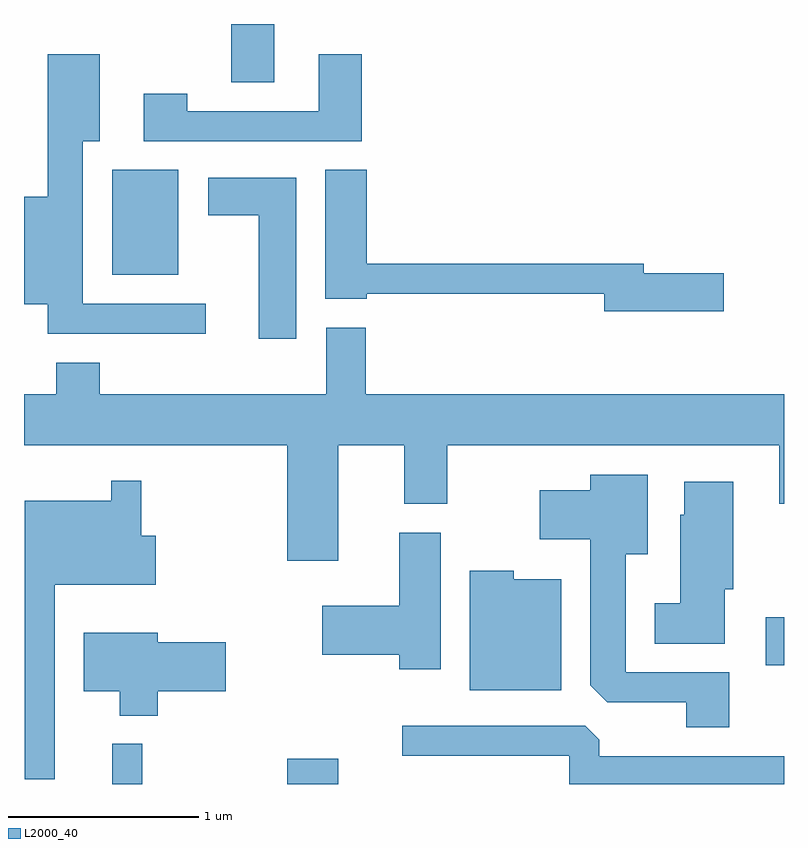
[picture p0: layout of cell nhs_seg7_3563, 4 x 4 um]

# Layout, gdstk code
import gdstk
lib = gdstk.Library(unit=1e-6, precision=1e-09)
def R(c, l, rs):  # rectangles x0, y0, x1, y1
    for r in rs: c.add(gdstk.rectangle(r[:2], r[2:], *l))
def P(c, l, *ps):  # polygons
    for p in ps: c.add(gdstk.Polygon(p, *l))
L2000_40 = (2000, 40)

nhs_seg7_3563 = lib.new_cell('nhs_seg7_3563')
R(nhs_seg7_3563, L2000_40, [(294.076,1770.252,294.234,1770.463), (294.996,1770.252,295.264,1770.384), (297.516,1770.876,297.611,1771.129), (294.076,1772.931,294.424,1773.484), (294.701,1773.946,294.929,1774.252)])
P(nhs_seg7_3563, L2000_40, [(294.568,1772.779),(293.919,1772.779),(293.919,1773.636),(294.009,1773.636),(294.009,1774.094),(293.736,1774.094),(293.736,1773.344),(293.611,1773.344),(293.611,1772.776),(293.736,1772.776),(293.736,1772.621),(294.568,1772.621)],
  [(295.389,1774.094),(295.161,1774.094),(295.161,1773.794),(294.469,1773.794),(294.469,1773.884),(294.241,1773.884),(294.241,1773.636),(295.389,1773.636)],
  [(297.294,1772.939),(296.874,1772.939),(296.874,1772.989),(295.414,1772.989),(295.414,1773.484),(295.196,1773.484),(295.196,1772.806),(295.414,1772.806),(295.414,1772.831),(296.666,1772.831),(296.666,1772.741),(297.294,1772.741)],
  [(295.044,1773.444),(294.581,1773.444),(294.581,1773.246),(294.846,1773.246),(294.846,1772.596),(295.044,1772.596)],
  [(295.264,1772.036),(295.611,1772.036),(295.611,1771.726),(295.839,1771.726),(295.839,1772.036),(297.586,1772.036),(297.586,1771.726),(297.611,1771.726),(297.611,1772.304),(295.409,1772.304),(295.409,1772.654),(295.201,1772.654),(295.201,1772.304),(294.009,1772.304),(294.009,1772.469),(293.781,1772.469),(293.781,1772.304),(293.611,1772.304),(293.611,1772.036),(294.996,1772.036),(294.996,1771.426),(295.264,1771.426)],
  [(297.324,1770.839),(296.779,1770.839),(296.779,1771.461),(296.894,1771.461),(296.894,1771.879),(296.591,1771.879),(296.591,1771.799),(296.326,1771.799),(296.326,1771.541),(296.591,1771.541),(296.591,1770.772),(296.682,1770.681),(297.096,1770.681),(297.096,1770.551),(297.324,1770.551)],
  [(293.774,1771.301),(294.304,1771.301),(294.304,1771.559),(294.229,1771.559),(294.229,1771.848),(294.071,1771.848),(294.071,1771.744),(293.616,1771.744),(293.616,1770.278),(293.774,1770.278)],
  [(297.299,1771.276),(297.344,1771.276),(297.344,1771.844),(297.086,1771.844),(297.086,1771.669),(297.066,1771.669),(297.066,1771.204),(296.931,1771.204),(296.931,1770.991),(297.299,1770.991)],
  [(295.804,1771.574),(295.586,1771.574),(295.586,1771.189),(295.181,1771.189),(295.181,1770.931),(295.586,1770.931),(295.586,1770.856),(295.804,1770.856)],
  [(296.439,1771.329),(296.189,1771.329),(296.189,1771.374),(295.956,1771.374),(295.956,1770.746),(296.439,1770.746)],
  [(294.314,1770.741),(294.674,1770.741),(294.674,1770.999),(294.314,1770.999),(294.314,1771.049),(293.926,1771.049),(293.926,1770.741),(294.116,1770.741),(294.116,1770.611),(294.314,1770.611)],
  [(297.611,1770.399),(296.639,1770.399),(296.639,1770.484),(296.564,1770.559),(295.603,1770.559),(295.603,1770.401),(296.481,1770.401),(296.481,1770.252),(297.611,1770.252)])

lib.write_gds('nhs_seg7_3563.gds')
